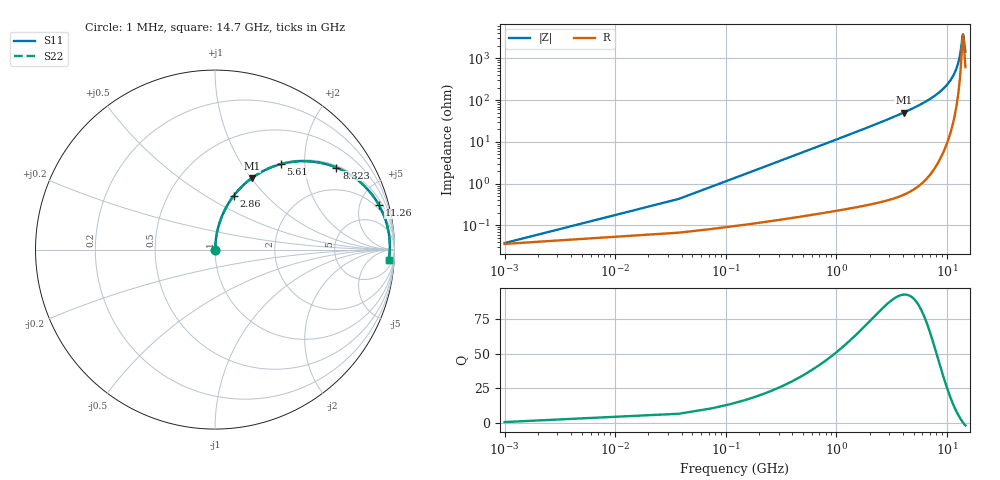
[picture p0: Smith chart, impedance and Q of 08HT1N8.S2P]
! Coilcraft 0805HT-1N8 Chip Inductor
! 24 June 2002
# MHZ S MA R 50
!Freq  MagS11  AngS11  MagS21  AngS21  MagS12  AngS12  MagS22  AngS22
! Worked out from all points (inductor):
!   402 points, 1 MHz to 14.7 GHz, reference 50 ohm
!   read as one part in series: L = 1.8 nH near 74.32 MHz
!   highest Q = 92.9 at 4.07 GHz (marker M1), where L = 1.97 nH
!   self-resonance near 13.99 GHz
!   S11 on the Smith chart (normalised r, x): 1 MHz: 1.00, +0.00; 2.86 GHz: 1.01, +0.68; 5.61 GHz: 1.02, +1.51; 8.323 GHz: 1.06, +2.91; 11.26 GHz: 1.51, +7.19; 14.7 GHz: 13, -26
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1  0.0003776 17.4  0.9996 -0.0  0.9996 -0.0  0.0003776 17.4
110.98  0.01257 85.0  0.999 -0.7  0.999 -0.7  0.01257 85.0
147.64  0.01671 85.5  0.9988 -1.0  0.9988 -1.0  0.01671 85.5
257.62  0.02912 85.8  0.9983 -1.7  0.9983 -1.7  0.02912 85.8
440.92  0.0498 85.3  0.9972 -2.9  0.9972 -2.9  0.0498 85.3
734.2  0.08284 83.9  0.9946 -4.8  0.9946 -4.8  0.08284 83.9
1174.12  0.1323 81.4  0.9888 -7.6  0.9888 -7.6  0.1323 81.4
1724.02  0.1937 78.0  0.9782 -11.2  0.9782 -11.2  0.1937 78.0
2457.22  0.2748 73.3  0.9581 -15.9  0.9581 -15.9  0.2748 73.3
2860.48  0.3188 70.7  0.9441 -18.6  0.9441 -18.6  0.3188 70.7
4070.26  0.4474 62.8  0.8895 -26.6  0.8895 -26.6  0.4474 62.8
4913.44  0.5328 57.2  0.8404 -32.2  0.8404 -32.2  0.5328 57.2
5609.98  0.5998 52.5  0.7931 -36.9  0.7931 -36.9  0.5998 52.5
7369.66  0.7496 40.5  0.6496 -48.5  0.6496 -48.5  0.7496 40.5
8322.82  0.8163 34.1  0.5602 -54.7  0.5602 -54.7  0.8163 34.1
9825.88  0.8975 24.1  0.4092 -63.8  0.4092 -63.8  0.8975 24.1
11255.62  0.9466 15.2  0.2627 -70.8  0.2627 -70.8  0.9466 15.2
12282.1  0.966 9.2  0.1607 -73.2  0.1607 -73.2  0.966 9.2
13125.28  0.9733 4.5  0.08195 -68.7  0.08195 -68.7  0.9733 4.5
13931.8  0.974 0.3  0.02648 -10.9  0.02648 -10.9  0.974 0.3
14115.1  0.9734 -0.6  0.02868 21.7  0.02868 21.7  0.9734 -0.6
14700  0.9699 -3.5  0.06686 61.5  0.06686 61.5  0.9699 -3.5
